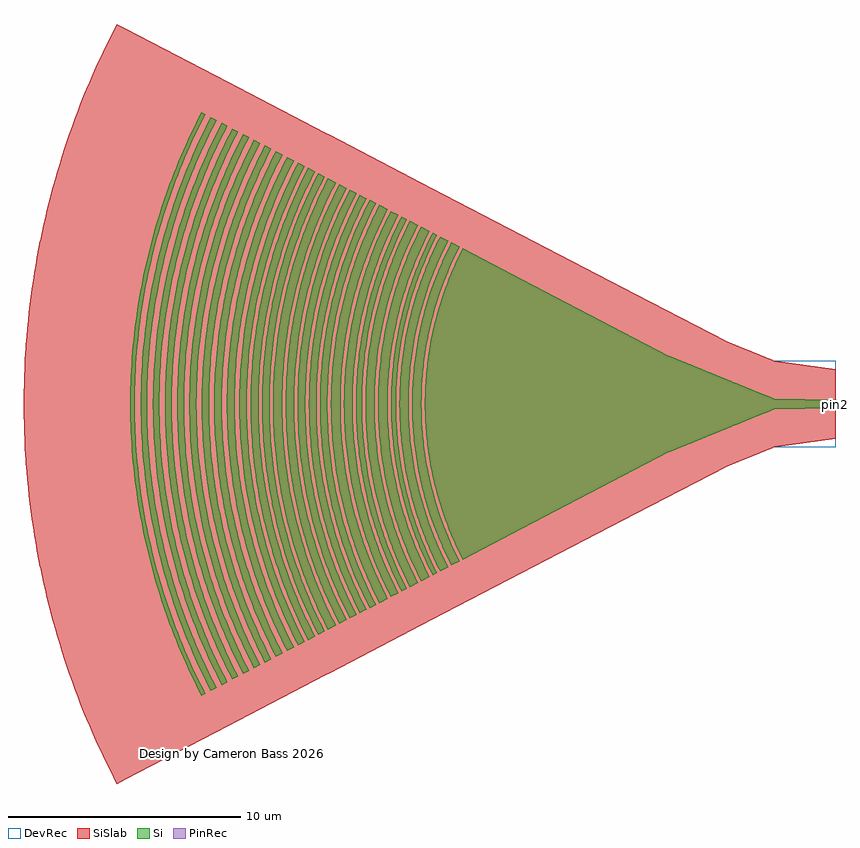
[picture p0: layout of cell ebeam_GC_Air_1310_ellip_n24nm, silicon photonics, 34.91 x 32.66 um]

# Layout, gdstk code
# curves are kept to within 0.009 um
import gdstk
lib = gdstk.Library(unit=1e-6, precision=1e-09)
def P(c, l, *ps):  # polygons
    for p in ps: c.add(gdstk.Polygon(p, *l))
Si = (1, 0)
PinRec = (1, 10)
SiSlab = (2, 0)
DevRec = (68, 0)

ebeam_gc_air_1310_ellip_ = lib.new_cell('ebeam_GC_Air_1310_ellip_n24nm')
P(ebeam_gc_air_1310_ellip_, Si, [(-16.038,-6.684),(-16.445,-5.83),(-16.761,-5.045),(-16.99,-4.377),(-17.255,-3.425),(-17.43,-2.597),(-17.557,-1.76),(-17.635,-0.916),(-17.663,-0.071),(-17.643,0.776),(-17.573,1.62),(-17.454,2.458),(-17.288,3.288),(-17.072,4.107),(-16.761,5.045),(-16.445,5.831),(-16.038,6.684),(-7.162,2.061),(-3.194,0.442),(-2.887,0.328),(-2.701,0.24),(-2.652,0.226),(0,0.175),(0,-0.175),(-2.684,-0.234),(-2.869,-0.321),(-3.21,-0.448),(-7.133,-2.048)],
  [(-16.53,-6.939),(-16.891,-6.189),(-17.227,-5.377),(-17.516,-4.546),(-17.756,-3.7),(-17.946,-2.841),(-18.086,-1.973),(-18.185,-0.952),(-18.215,-0.073),(-18.194,0.806),(-18.121,1.682),(-17.998,2.553),(-17.825,3.416),(-17.601,4.265),(-17.329,5.102),(-17.121,5.65),(-16.95,6.056),(-16.53,6.94),(-16.169,6.752),(-16.523,6.02),(-16.901,5.096),(-17.173,4.286),(-17.398,3.461),(-17.576,2.624),(-17.704,1.778),(-17.791,0.784),(-17.811,0.071),(-17.791,-0.784),(-17.704,-1.778),(-17.576,-2.623),(-17.398,-3.461),(-17.173,-4.286),(-16.901,-5.096),(-16.523,-6.02),(-16.169,-6.752)],
  [(-17.011,-7.19),(-17.385,-6.413),(-17.733,-5.572),(-18.032,-4.711),(-18.281,-3.834),(-18.449,-3.093),(-18.622,-2.045),(-18.715,-1.138),(-18.742,-0.683),(-18.756,-0.076),(-18.734,0.835),(-18.659,1.743),(-18.602,2.196),(-18.505,2.795),(-18.317,3.686),(-18.163,4.274),(-18.032,4.711),(-17.733,5.572),(-17.385,6.413),(-17.011,7.19),(-16.66,7.008),(-17.086,6.115),(-17.469,5.152),(-17.701,4.449),(-17.935,3.593),(-18.119,2.724),(-18.252,1.846),(-18.333,0.962),(-18.363,0.074),(-18.342,-0.813),(-18.252,-1.846),(-18.119,-2.724),(-17.935,-3.593),(-17.701,-4.449),(-17.418,-5.291),(-17.086,-6.115),(-16.66,-7.008)],
  [(-17.331,-7.357),(-17.777,-6.419),(-18.126,-5.555),(-18.376,-4.82),(-18.631,-3.923),(-18.832,-3.012),(-18.913,-2.553),(-19,-1.938),(-19.086,-1.009),(-19.117,-0.078),(-19.095,0.855),(-19,1.938),(-18.86,2.86),(-18.668,3.772),(-18.422,4.671),(-18.126,5.555),(-17.958,5.99),(-17.714,6.562),(-17.331,7.357),(-17.142,7.258),(-17.582,6.334),(-17.978,5.337),(-18.127,4.901),(-18.305,4.315),(-18.53,3.423),(-18.703,2.52),(-18.823,1.608),(-18.882,0.843),(-18.904,0.077),(-18.882,-0.843),(-18.823,-1.608),(-18.727,-2.368),(-18.563,-3.273),(-18.305,-4.315),(-18.127,-4.901),(-17.978,-5.336),(-17.582,-6.334),(-17.142,-7.258)],
  [(-17.827,-7.615),(-18.288,-6.644),(-18.649,-5.75),(-18.956,-4.835),(-19.21,-3.904),(-19.409,-2.96),(-19.553,-2.006),(-19.642,-1.044),(-19.675,-0.08),(-19.651,0.885),(-19.572,1.846),(-19.437,2.802),(-19.317,3.434),(-19.21,3.904),(-18.956,4.835),(-18.649,5.75),(-18.475,6.2),(-18.223,6.792),(-17.827,7.615),(-17.462,7.425),(-17.913,6.48),(-18.208,5.754),(-18.518,4.864),(-18.774,3.96),(-19.007,2.886),(-19.147,1.956),(-19.211,1.332),(-19.243,0.862),(-19.265,0.078),(-19.243,-0.862),(-19.211,-1.332),(-19.147,-1.956),(-19.007,-2.886),(-18.811,-3.807),(-18.564,-4.715),(-18.264,-5.606),(-17.913,-6.48),(-17.462,-7.425)],
  [(-18.307,-7.865),(-18.578,-7.316),(-18.784,-6.861),(-19.156,-5.938),(-19.474,-4.993),(-19.736,-4.031),(-19.941,-3.057),(-20.091,-2.071),(-20.182,-1.079),(-20.216,-0.083),(-20.192,0.914),(-20.11,1.906),(-19.998,2.729),(-19.88,3.383),(-19.775,3.87),(-19.612,4.515),(-19.474,4.993),(-19.268,5.625),(-19.098,6.093),(-18.717,7.014),(-18.307,7.865),(-17.959,7.684),(-18.425,6.705),(-18.845,5.649),(-19.146,4.723),(-19.355,3.94),(-19.557,2.986),(-19.702,2.024),(-19.792,1.054),(-19.825,0.081),(-19.801,-0.892),(-19.721,-1.863),(-19.637,-2.507),(-19.557,-2.986),(-19.355,-3.939),(-19.099,-4.878),(-18.789,-5.801),(-18.36,-6.853),(-17.959,-7.684)],
  [(-18.669,-8.053),(-19.089,-7.18),(-19.479,-6.238),(-19.814,-5.274),(-20.006,-4.622),(-20.133,-4.127),(-20.343,-3.13),(-20.496,-2.12),(-20.59,-1.104),(-20.624,-0.085),(-20.6,0.935),(-20.516,1.952),(-20.373,2.962),(-20.246,3.63),(-20.133,4.127),(-20.006,4.622),(-19.814,5.274),(-19.479,6.238),(-19.089,7.18),(-18.669,8.053),(-18.438,7.934),(-18.713,7.379),(-18.987,6.767),(-19.176,6.303),(-19.409,5.674),(-19.567,5.196),(-19.755,4.553),(-19.919,3.903),(-20.026,3.413),(-20.171,2.588),(-20.276,1.756),(-20.341,0.921),(-20.365,0.084),(-20.341,-0.921),(-20.276,-1.756),(-20.171,-2.588),(-20.026,-3.413),(-19.919,-3.903),(-19.755,-4.553),(-19.567,-5.196),(-19.409,-5.674),(-18.987,-6.767),(-18.713,-7.379),(-18.438,-7.933)],
  [(-19.127,-8.292),(-19.56,-7.393),(-19.835,-6.748),(-20.024,-6.259),(-20.358,-5.263),(-20.635,-4.249),(-20.851,-3.222),(-21.009,-2.183),(-21.105,-1.137),(-21.141,-0.088),(-21.131,0.613),(-21.105,1.137),(-21.009,2.183),(-20.851,3.222),(-20.635,4.25),(-20.358,5.263),(-20.024,6.259),(-19.631,7.233),(-19.414,7.711),(-19.127,8.292),(-18.801,8.122),(-19.226,7.242),(-19.618,6.291),(-19.795,5.808),(-20.007,5.155),(-20.278,4.163),(-20.491,3.156),(-20.645,2.139),(-20.739,1.115),(-20.774,0.086),(-20.749,-0.943),(-20.665,-1.969),(-20.521,-2.987),(-20.427,-3.493),(-20.278,-4.163),(-20.007,-5.155),(-19.679,-6.13),(-19.295,-7.085),(-19.083,-7.553),(-18.801,-8.122)],
  [(-19.626,-8.552),(-20.071,-7.626),(-20.485,-6.626),(-20.84,-5.602),(-21.136,-4.559),(-21.369,-3.501),(-21.542,-2.432),(-21.652,-1.353),(-21.683,-0.813),(-21.701,-0.09),(-21.675,0.993),(-21.585,2.073),(-21.434,3.146),(-21.299,3.855),(-21.179,4.384),(-20.894,5.429),(-20.67,6.116),(-20.485,6.626),(-20.071,7.626),(-19.626,8.552),(-19.259,8.361),(-19.549,7.775),(-19.768,7.293),(-20.163,6.31),(-20.501,5.307),(-20.779,4.285),(-20.999,3.248),(-21.157,2.202),(-21.254,1.146),(-21.29,0.088),(-21.285,-0.442),(-21.254,-1.146),(-21.157,-2.201),(-20.999,-3.248),(-20.779,-4.285),(-20.501,-5.306),(-20.163,-6.31),(-19.768,-7.293),(-19.549,-7.774),(-19.259,-8.361)],
  [(-20.041,-8.768),(-20.344,-8.153),(-20.574,-7.646),(-20.989,-6.617),(-21.342,-5.564),(-21.635,-4.493),(-21.864,-3.407),(-22.03,-2.308),(-22.132,-1.202),(-22.17,-0.093),(-22.143,1.018),(-22.052,2.124),(-21.982,2.675),(-21.864,3.407),(-21.635,4.493),(-21.342,5.564),(-20.989,6.617),(-20.574,7.647),(-20.344,8.153),(-20.041,8.768),(-19.761,8.622),(-19.981,8.183),(-20.285,7.522),(-20.496,7.018),(-20.755,6.337),(-20.987,5.647),(-21.192,4.948),(-21.327,4.42),(-21.486,3.708),(-21.643,2.812),(-21.757,1.909),(-21.828,1.001),(-21.854,0.091),(-21.844,-0.637),(-21.775,-1.727),(-21.67,-2.631),(-21.486,-3.708),(-21.327,-4.419),(-21.192,-4.948),(-20.987,-5.646),(-20.755,-6.337),(-20.496,-7.017),(-20.285,-7.521),(-19.981,-8.182),(-19.761,-8.622)],
  [(-20.461,-8.987),(-20.932,-8.009),(-21.158,-7.487),(-21.367,-6.958),(-21.74,-5.883),(-22.051,-4.788),(-22.222,-4.049),(-22.331,-3.491),(-22.501,-2.365),(-22.606,-1.232),(-22.645,-0.095),(-22.617,1.043),(-22.523,2.177),(-22.364,3.304),(-22.261,3.863),(-22.096,4.604),(-21.904,5.337),(-21.74,5.883),(-21.367,6.958),(-21.158,7.487),(-20.932,8.009),(-20.461,8.987),(-20.173,8.837),(-20.48,8.216),(-20.785,7.535),(-21.063,6.844),(-21.255,6.317),(-21.485,5.608),(-21.64,5.07),(-21.78,4.528),(-21.942,3.8),(-22.103,2.881),(-22.22,1.955),(-22.292,1.025),(-22.319,0.093),(-22.301,-0.839),(-22.238,-1.77),(-22.13,-2.696),(-21.942,-3.8),(-21.78,-4.528),(-21.64,-5.07),(-21.485,-5.608),(-21.255,-6.317),(-20.996,-7.017),(-20.785,-7.535),(-20.48,-8.216),(-20.173,-8.837)],
  [(-20.896,-9.213),(-21.217,-8.561),(-21.459,-8.029),(-21.895,-6.948),(-22.266,-5.843),(-22.527,-4.907),(-22.661,-4.339),(-22.814,-3.577),(-22.989,-2.424),(-23.096,-1.262),(-23.135,-0.097),(-23.13,0.486),(-23.096,1.263),(-22.989,2.424),(-22.814,3.578),(-22.573,4.718),(-22.266,5.843),(-21.894,6.949),(-21.459,8.03),(-21.217,8.561),(-20.896,9.213),(-20.597,9.057),(-20.914,8.417),(-21.226,7.72),(-21.511,7.011),(-21.708,6.472),(-21.888,5.927),(-22.103,5.194),(-22.246,4.639),(-22.412,3.893),(-22.577,2.952),(-22.697,2.004),(-22.771,1.051),(-22.799,0.096),(-22.78,-0.86),(-22.716,-1.813),(-22.605,-2.762),(-22.412,-3.893),(-22.246,-4.639),(-22.103,-5.194),(-21.888,-5.927),(-21.708,-6.472),(-21.511,-7.011),(-21.226,-7.719),(-20.914,-8.417),(-20.597,-9.057)],
  [(-21.347,-9.448),(-21.677,-8.78),(-21.924,-8.234),(-22.156,-7.683),(-22.371,-7.126),(-22.752,-5.992),(-23.067,-4.838),(-23.314,-3.669),(-23.493,-2.486),(-23.603,-1.294),(-23.643,-0.1),(-23.638,0.498),(-23.603,1.295),(-23.493,2.486),(-23.314,3.669),(-23.067,4.838),(-22.918,5.418),(-22.693,6.183),(-22.301,7.312),(-21.843,8.417),(-21.347,9.448),(-21.027,9.281),(-21.268,8.801),(-21.595,8.09),(-21.822,7.548),(-22.101,6.816),(-22.351,6.073),(-22.519,5.511),(-22.717,4.753),(-22.888,3.989),(-23.057,3.025),(-23.18,2.053),(-23.256,1.076),(-23.284,0.098),(-23.265,-0.881),(-23.199,-1.858),(-23.086,-2.83),(-22.888,-3.988),(-22.717,-4.753),(-22.519,-5.511),(-22.351,-6.073),(-22.101,-6.816),(-21.822,-7.548),(-21.595,-8.09),(-21.352,-8.624),(-21.027,-9.281)],
  [(-21.835,-9.701),(-22.172,-9.017),(-22.426,-8.457),(-22.664,-7.891),(-22.885,-7.318),(-23.089,-6.739),(-23.276,-6.154),(-23.447,-5.564),(-23.6,-4.969),(-23.736,-4.37),(-23.853,-3.768),(-24.037,-2.553),(-24.15,-1.329),(-24.18,-0.716),(-24.191,-0.102),(-24.162,1.126),(-24.061,2.35),(-23.954,3.161),(-23.853,3.768),(-23.736,4.37),(-23.6,4.969),(-23.447,5.565),(-23.276,6.154),(-22.885,7.319),(-22.426,8.458),(-22.172,9.017),(-21.835,9.702),(-21.478,9.516),(-21.812,8.843),(-22.14,8.11),(-22.367,7.553),(-22.646,6.799),(-22.835,6.227),(-23.061,5.457),(-23.211,4.874),(-23.385,4.09),(-23.559,3.101),(-23.685,2.106),(-23.763,1.104),(-23.792,0.1),(-23.773,-0.903),(-23.705,-1.905),(-23.588,-2.902),(-23.496,-3.497),(-23.385,-4.09),(-23.211,-4.874),(-23.061,-5.456),(-22.835,-6.227),(-22.646,-6.799),(-22.367,-7.553),(-22.14,-8.11),(-21.812,-8.843),(-21.478,-9.516)],
  [(-22.249,-9.917),(-22.594,-9.216),(-22.854,-8.644),(-23.097,-8.065),(-23.323,-7.48),(-23.723,-6.29),(-24.054,-5.079),(-24.192,-4.467),(-24.312,-3.851),(-24.415,-3.231),(-24.5,-2.609),(-24.567,-1.985),(-24.616,-1.359),(-24.658,-0.105),(-24.652,0.524),(-24.628,1.151),(-24.525,2.401),(-24.446,3.024),(-24.349,3.645),(-24.235,4.262),(-24.054,5.079),(-23.723,6.29),(-23.531,6.888),(-23.25,7.675),(-23.018,8.26),(-22.769,8.836),(-22.249,9.917),(-21.966,9.77),(-22.307,9.08),(-22.562,8.518),(-22.877,7.756),(-23.095,7.176),(-23.295,6.591),(-23.534,5.803),(-23.694,5.205),(-23.88,4.401),(-24,3.794),(-24.101,3.184),(-24.23,2.162),(-24.31,1.133),(-24.34,0.103),(-24.31,-1.133),(-24.23,-2.161),(-24.101,-3.184),(-24,-3.794),(-23.88,-4.401),(-23.694,-5.205),(-23.534,-5.801),(-23.295,-6.59),(-23.095,-7.176),(-22.801,-7.947),(-22.562,-8.517),(-22.307,-9.08),(-21.966,-9.77)],
  [(-22.683,-10.143),(-23.038,-9.423),(-23.304,-8.838),(-23.553,-8.247),(-23.784,-7.648),(-24.192,-6.432),(-24.371,-5.815),(-24.531,-5.193),(-24.673,-4.567),(-24.795,-3.938),(-24.901,-3.304),(-24.988,-2.668),(-25.056,-2.03),(-25.106,-1.389),(-25.137,-0.749),(-25.149,-0.107),(-25.143,0.536),(-25.118,1.177),(-25.075,1.817),(-25.013,2.455),(-24.932,3.093),(-24.833,3.727),(-24.673,4.567),(-24.531,5.193),(-24.371,5.815),(-24.192,6.432),(-23.784,7.649),(-23.553,8.247),(-23.304,8.839),(-23.038,9.424),(-22.683,10.143),(-22.383,9.987),(-22.642,9.471),(-22.994,8.705),(-23.316,7.926),(-23.538,7.334),(-23.807,6.535),(-23.987,5.93),(-24.151,5.319),(-24.341,4.498),(-24.534,3.463),(-24.677,2.419),(-24.768,1.369),(-24.799,0.738),(-24.811,0.105),(-24.791,-0.948),(-24.754,-1.579),(-24.699,-2.208),(-24.567,-3.254),(-24.384,-4.292),(-24.25,-4.909),(-24.044,-5.726),(-23.807,-6.535),(-23.608,-7.135),(-23.316,-7.926),(-22.994,-8.705),(-22.733,-9.28),(-22.383,-9.987)],
  [(-23.115,-10.368),(-23.664,-9.229),(-23.924,-8.627),(-24.167,-8.017),(-24.597,-6.779),(-24.785,-6.15),(-24.955,-5.517),(-25.106,-4.88),(-25.238,-4.237),(-25.352,-3.591),(-25.447,-2.943),(-25.523,-2.291),(-25.595,-1.419),(-25.627,-0.765),(-25.639,-0.109),(-25.633,0.547),(-25.608,1.202),(-25.563,1.856),(-25.5,2.508),(-25.417,3.16),(-25.278,4.023),(-25.152,4.666),(-25.007,5.305),(-24.843,5.941),(-24.661,6.57),(-24.461,7.195),(-24.244,7.814),(-24.007,8.425),(-23.753,9.029),(-23.482,9.627),(-23.115,10.368),(-22.831,10.221),(-23.098,9.688),(-23.458,8.904),(-23.788,8.108),(-24.015,7.502),(-24.29,6.685),(-24.475,6.066),(-24.694,5.232),(-24.837,4.601),(-25.035,3.542),(-25.128,2.902),(-25.203,2.26),(-25.286,1.185),(-25.318,0.108),(-25.297,-0.97),(-25.259,-1.615),(-25.203,-2.259),(-25.035,-3.542),(-24.837,-4.601),(-24.694,-5.232),(-24.475,-6.066),(-24.29,-6.685),(-24.015,-7.502),(-23.788,-8.108),(-23.458,-8.904),(-23.191,-9.492),(-22.831,-10.22)],
  [(-23.584,-10.613),(-23.963,-9.847),(-24.241,-9.236),(-24.501,-8.618),(-24.743,-7.993),(-25.104,-6.935),(-25.297,-6.291),(-25.471,-5.644),(-25.626,-4.991),(-25.801,-4.115),(-25.912,-3.452),(-26.003,-2.788),(-26.074,-2.121),(-26.126,-1.452),(-26.159,-0.782),(-26.172,-0.112),(-26.165,0.559),(-26.139,1.23),(-26.094,1.899),(-26.029,2.566),(-25.944,3.232),(-25.84,3.895),(-25.672,4.773),(-25.524,5.427),(-25.357,6.077),(-25.17,6.721),(-24.965,7.36),(-24.743,7.993),(-24.501,8.618),(-24.241,9.236),(-23.963,9.848),(-23.584,10.613),(-23.289,10.459),(-23.661,9.708),(-23.934,9.107),(-24.19,8.497),(-24.504,7.673),(-24.718,7.047),(-24.975,6.204),(-25.199,5.351),(-25.345,4.706),(-25.548,3.622),(-25.697,2.53),(-25.76,1.872),(-25.805,1.212),(-25.837,0.11),(-25.816,-0.992),(-25.778,-1.652),(-25.72,-2.31),(-25.582,-3.405),(-25.473,-4.056),(-25.345,-4.706),(-25.199,-5.351),(-25.034,-5.991),(-24.851,-6.626),(-24.578,-7.465),(-24.351,-8.087),(-24.022,-8.904),(-23.661,-9.708),(-23.289,-10.459)],
  [(-24.067,-10.864),(-24.458,-10.074),(-24.742,-9.449),(-25.008,-8.816),(-25.256,-8.177),(-25.484,-7.529),(-25.694,-6.876),(-25.885,-6.216),(-26.056,-5.552),(-26.208,-4.883),(-26.34,-4.21),(-26.453,-3.532),(-26.546,-2.852),(-26.619,-2.17),(-26.672,-1.485),(-26.706,-0.8),(-26.719,-0.114),(-26.712,0.572),(-26.686,1.258),(-26.619,2.17),(-26.546,2.853),(-26.453,3.532),(-26.34,4.21),(-26.208,4.883),(-26.056,5.552),(-25.885,6.217),(-25.694,6.876),(-25.41,7.746),(-25.176,8.39),(-24.922,9.029),(-24.649,9.658),(-24.359,10.281),(-24.067,10.864),(-23.777,10.713),(-24.064,10.142),(-24.441,9.322),(-24.787,8.488),(-25.025,7.854),(-25.244,7.214),(-25.445,6.567),(-25.626,5.915),(-25.839,5.037),(-26.057,3.93),(-26.161,3.261),(-26.247,2.59),(-26.345,1.466),(-26.378,0.79),(-26.391,0.113),(-26.369,-1.015),(-26.329,-1.691),(-26.271,-2.365),(-26.129,-3.485),(-25.933,-4.596),(-25.737,-5.477),(-25.568,-6.132),(-25.313,-6.998),(-25.025,-7.854),(-24.787,-8.488),(-24.441,-9.322),(-24.064,-10.141),(-23.777,-10.713)],
  [(-24.537,-11.109),(-24.939,-10.297),(-25.23,-9.658),(-25.502,-9.012),(-25.755,-8.358),(-25.988,-7.696),(-26.203,-7.028),(-26.398,-6.355),(-26.574,-5.675),(-26.729,-4.991),(-26.864,-4.303),(-26.979,-3.61),(-27.074,-2.916),(-27.149,-2.218),(-27.204,-1.518),(-27.238,-0.818),(-27.251,-0.117),(-27.238,0.818),(-27.204,1.519),(-27.149,2.219),(-27.074,2.916),(-26.979,3.611),(-26.864,4.303),(-26.729,4.991),(-26.574,5.675),(-26.398,6.355),(-26.134,7.252),(-25.913,7.917),(-25.673,8.577),(-25.414,9.229),(-25.135,9.872),(-24.838,10.509),(-24.537,11.109),(-24.258,10.964),(-24.555,10.374),(-24.942,9.535),(-25.21,8.896),(-25.539,8.033),(-25.834,7.158),(-26.032,6.496),(-26.212,5.826),(-26.371,5.152),(-26.512,4.475),(-26.633,3.793),(-26.789,2.649),(-26.89,1.5),(-26.923,0.808),(-26.936,0.115),(-26.93,-0.577),(-26.903,-1.269),(-26.813,-2.419),(-26.733,-3.107),(-26.633,-3.793),(-26.42,-4.927),(-26.212,-5.826),(-26.032,-6.494),(-25.834,-7.158),(-25.539,-8.033),(-25.21,-8.896),(-24.942,-9.535),(-24.655,-10.165),(-24.258,-10.964)],
  [(-25.01,-11.355),(-25.319,-10.738),(-25.623,-10.089),(-25.907,-9.431),(-26.173,-8.764),(-26.417,-8.091),(-26.643,-7.411),(-26.85,-6.723),(-27.036,-6.031),(-27.201,-5.334),(-27.346,-4.631),(-27.47,-3.926),(-27.575,-3.217),(-27.658,-2.504),(-27.721,-1.79),(-27.772,-0.836),(-27.786,-0.12),(-27.779,0.597),(-27.751,1.314),(-27.702,2.029),(-27.633,2.742),(-27.542,3.454),(-27.39,4.397),(-27.252,5.101),(-27.093,5.799),(-26.914,6.494),(-26.714,7.183),(-26.495,7.865),(-26.173,8.764),(-25.907,9.431),(-25.623,10.089),(-25.319,10.738),(-25.01,11.355),(-24.738,11.214),(-25.044,10.607),(-25.439,9.749),(-25.713,9.096),(-26.05,8.214),(-26.279,7.545),(-26.489,6.868),(-26.738,5.957),(-26.901,5.268),(-27.13,4.111),(-27.239,3.411),(-27.328,2.709),(-27.397,2.004),(-27.445,1.297),(-27.479,0.118),(-27.472,-0.59),(-27.445,-1.297),(-27.353,-2.473),(-27.205,-3.645),(-27.089,-4.343),(-26.951,-5.038),(-26.738,-5.957),(-26.554,-6.641),(-26.279,-7.544),(-26.05,-8.214),(-25.713,-9.096),(-25.439,-9.749),(-25.146,-10.393),(-24.738,-11.213)],
  [(-25.472,-11.595),(-25.788,-10.964),(-26.098,-10.301),(-26.388,-9.629),(-26.659,-8.948),(-26.909,-8.261),(-27.14,-7.567),(-27.351,-6.865),(-27.541,-6.158),(-27.762,-5.208),(-27.902,-4.49),(-28.023,-3.767),(-28.122,-3.042),(-28.2,-2.315),(-28.257,-1.584),(-28.292,-0.854),(-28.307,-0.122),(-28.292,0.854),(-28.257,1.584),(-28.2,2.315),(-28.122,3.042),(-28.023,3.767),(-27.902,4.49),(-27.762,5.208),(-27.599,5.921),(-27.416,6.631),(-27.213,7.333),(-26.989,8.03),(-26.659,8.949),(-26.388,9.629),(-26.098,10.301),(-25.788,10.964),(-25.472,11.595),(-25.212,11.46),(-25.63,10.62),(-25.929,9.962),(-26.299,9.071),(-26.554,8.393),(-26.862,7.479),(-27.069,6.787),(-27.257,6.087),(-27.424,5.383),(-27.571,4.675),(-27.697,3.963),(-27.86,2.768),(-27.965,1.567),(-28,0.844),(-28.014,0.121),(-27.991,-1.085),(-27.949,-1.807),(-27.886,-2.527),(-27.802,-3.246),(-27.697,-3.962),(-27.571,-4.674),(-27.424,-5.383),(-27.197,-6.32),(-27.002,-7.018),(-26.788,-7.708),(-26.554,-8.393),(-26.299,-9.071),(-25.929,-9.962),(-25.63,-10.62),(-25.212,-11.46)],
  [(-25.937,-11.837),(-26.26,-11.192),(-26.577,-10.515),(-26.873,-9.83),(-27.15,-9.135),(-27.405,-8.433),(-27.641,-7.724),(-27.856,-7.008),(-28.05,-6.286),(-28.275,-5.316),(-28.419,-4.583),(-28.541,-3.845),(-28.643,-3.105),(-28.723,-2.363),(-28.781,-1.617),(-28.817,-0.871),(-28.831,-0.125),(-28.817,0.871),(-28.781,1.617),(-28.723,2.363),(-28.643,3.106),(-28.541,3.846),(-28.419,4.583),(-28.275,5.316),(-28.109,6.044),(-27.923,6.769),(-27.715,7.486),(-27.486,8.197),(-27.238,8.902),(-26.968,9.599),(-26.577,10.515),(-26.26,11.193),(-25.937,11.838),(-25.682,11.705),(-26.003,11.068),(-26.415,10.174),(-26.701,9.492),(-26.969,8.803),(-27.215,8.107),(-27.511,7.167),(-27.771,6.217),(-27.941,5.497),(-28.18,4.289),(-28.294,3.559),(-28.387,2.827),(-28.459,2.091),(-28.509,1.354),(-28.545,0.123),(-28.537,-0.615),(-28.509,-1.354),(-28.413,-2.581),(-28.327,-3.315),(-28.22,-4.046),(-27.994,-5.257),(-27.83,-5.978),(-27.58,-6.93),(-27.292,-7.872),(-27.053,-8.571),(-26.701,-9.492),(-26.415,-10.173),(-26.003,-11.067),(-25.682,-11.705)],
  [(-26.396,-12.076),(-26.726,-11.417),(-27.049,-10.727),(-27.351,-10.027),(-27.633,-9.318),(-27.894,-8.602),(-28.134,-7.879),(-28.353,-7.148),(-28.551,-6.413),(-28.781,-5.423),(-28.928,-4.675),(-29.053,-3.923),(-29.156,-3.168),(-29.238,-2.41),(-29.297,-1.65),(-29.334,-0.889),(-29.349,-0.127),(-29.341,0.636),(-29.312,1.397),(-29.26,2.157),(-29.186,2.916),(-29.09,3.672),(-28.928,4.675),(-28.781,5.423),(-28.612,6.166),(-28.422,6.904),(-28.21,7.637),(-27.976,8.362),(-27.723,9.081),(-27.448,9.792),(-27.049,10.727),(-26.726,11.418),(-26.396,12.076),(-26.151,11.949),(-26.479,11.299),(-26.9,10.385),(-27.285,9.456),(-27.551,8.75),(-27.795,8.036),(-28.089,7.075),(-28.284,6.346),(-28.458,5.612),(-28.612,4.874),(-28.743,4.131),(-28.913,2.886),(-29.023,1.633),(-29.059,0.88),(-29.074,0.126),(-29.066,-0.628),(-29.037,-1.382),(-28.94,-2.635),(-28.852,-3.384),(-28.743,-4.131),(-28.512,-5.366),(-28.284,-6.346),(-28.089,-7.074),(-27.872,-7.796),(-27.551,-8.749),(-27.285,-9.456),(-26.9,-10.385),(-26.588,-11.071),(-26.151,-11.949)],
  [(-26.866,-12.321),(-27.308,-11.429),(-27.63,-10.72),(-27.932,-10.002),(-28.213,-9.276),(-28.471,-8.542),(-28.709,-7.801),(-28.925,-7.053),(-29.12,-6.298),(-29.292,-5.539),(-29.441,-4.776),(-29.569,-4.007),(-29.675,-3.236),(-29.757,-2.462),(-29.818,-1.685),(-29.856,-0.908),(-29.871,-0.13),(-29.856,0.908),(-29.818,1.685),(-29.757,2.462),(-29.675,3.236),(-29.569,4.007),(-29.441,4.776),(-29.292,5.54),(-29.12,6.298),(-28.925,7.053),(-28.709,7.801),(-28.471,8.542),(-28.213,9.277),(-27.932,10.002),(-27.63,10.72),(-27.308,11.429),(-26.866,12.322),(-26.618,12.193),(-26.953,11.528),(-27.383,10.596),(-27.681,9.886),(-27.958,9.168),(-28.216,8.443),(-28.451,7.71),(-28.731,6.723),(-28.916,5.976),(-29.08,5.224),(-29.221,4.467),(-29.34,3.707),(-29.437,2.944),(-29.511,2.178),(-29.563,1.41),(-29.601,0.128),(-29.576,-1.154),(-29.531,-1.922),(-29.464,-2.688),(-29.303,-3.961),(-29.176,-4.72),(-29.027,-5.475),(-28.795,-6.474),(-28.595,-7.217),(-28.375,-7.955),(-28.047,-8.927),(-27.776,-9.648),(-27.383,-10.596),(-27.064,-11.296),(-26.618,-12.192)],
  [(-27.264,-12.529),(-27.607,-11.842),(-27.942,-11.126),(-28.255,-10.401),(-28.547,-9.665),(-28.803,-8.964),(-29.066,-8.173),(-29.293,-7.415),(-29.498,-6.652),(-29.79,-5.367),(-29.934,-4.59),(-30.092,-3.548),(-30.209,-2.5),(-30.265,-1.792),(-30.309,-0.922),(-30.324,-0.132),(-30.316,0.659),(-30.286,1.449),(-30.232,2.238),(-30.125,3.286),(-30.018,4.069),(-29.888,4.85),(-29.736,5.625),(-29.561,6.396),(-29.364,7.162),(-29.144,7.921),(-28.903,8.674),(-28.64,9.42),(-28.355,10.157),(-27.942,11.127),(-27.607,11.843),(-27.264,12.529),(-27.097,12.442),(-27.431,11.777),(-27.869,10.825),(-28.27,9.857),(-28.547,9.12),(-28.801,8.377),(-29.034,7.626),(-29.245,6.868),(-29.433,6.105),(-29.699,4.822),(-29.828,4.047),(-29.934,3.268),(-30.018,2.486),(-30.079,1.703),(-30.117,0.917),(-30.132,0.131),(-30.124,-0.654),(-30.094,-1.44),(-30.041,-2.225),(-29.964,-3.008),(-29.787,-4.306),(-29.651,-5.08),(-29.491,-5.849),(-29.31,-6.615),(-29.107,-7.374),(-28.881,-8.127),(-28.547,-9.12),(-28.27,-9.857),(-27.869,-10.825),(-27.544,-11.54),(-27.097,-12.442)])
P(ebeam_gc_air_1310_ellip_, SiSlab, [(-30.904,-16.329),(-31.366,-15.41),(-31.801,-14.477),(-32.208,-13.533),(-32.588,-12.577),(-32.94,-11.61),(-33.264,-10.634),(-33.559,-9.648),(-33.825,-8.655),(-34.062,-7.654),(-34.27,-6.647),(-34.449,-5.634),(-34.598,-4.616),(-34.717,-3.594),(-34.807,-2.569),(-34.867,-1.543),(-34.9,-0.171),(-34.89,0.857),(-34.85,1.885),(-34.781,2.912),(-34.681,3.935),(-34.552,4.956),(-34.393,5.972),(-34.135,7.319),(-33.907,8.322),(-33.651,9.318),(-33.365,10.307),(-33.051,11.286),(-32.709,12.256),(-32.338,13.216),(-31.94,14.164),(-31.366,15.41),(-30.904,16.329),(-4.744,2.708),(-2.65,1.855),(0,1.5),(0,-1.5),(-2.65,-1.855),(-4.728,-2.7)])
P(ebeam_gc_air_1310_ellip_, DevRec, [(-30.904,-16.329),(-31.366,-15.41),(-31.801,-14.477),(-32.208,-13.533),(-32.588,-12.577),(-32.94,-11.61),(-33.264,-10.634),(-33.559,-9.648),(-33.825,-8.655),(-34.062,-7.654),(-34.27,-6.647),(-34.449,-5.634),(-34.598,-4.616),(-34.717,-3.594),(-34.807,-2.569),(-34.867,-1.543),(-34.9,-0.171),(-34.89,0.857),(-34.85,1.885),(-34.781,2.912),(-34.681,3.935),(-34.552,4.956),(-34.393,5.972),(-34.135,7.319),(-33.907,8.322),(-33.651,9.318),(-33.365,10.307),(-33.051,11.286),(-32.709,12.256),(-32.338,13.216),(-31.94,14.164),(-31.366,15.41),(-30.904,16.329),(-4.744,2.708),(-2.65,1.855),(0,1.855),(0,-1.855),(-2.65,-1.855),(-4.728,-2.7)])
ebeam_gc_air_1310_ellip_.add(gdstk.FlexPath([(-0.01,0),(0.01,0)], 0.35, ends="flush", simple_path=True, layer=1, datatype=10))  # PinRec
ebeam_gc_air_1310_ellip_.add(gdstk.Label('pin2', (0,0), layer=1, texttype=10))
ebeam_gc_air_1310_ellip_.add(gdstk.Label('Design by Cameron Bass 2026', (-25.94,-15.02), layer=10, texttype=0))

lib.write_gds('ebeam_GC_Air_1310_ellip_n24nm.gds')
